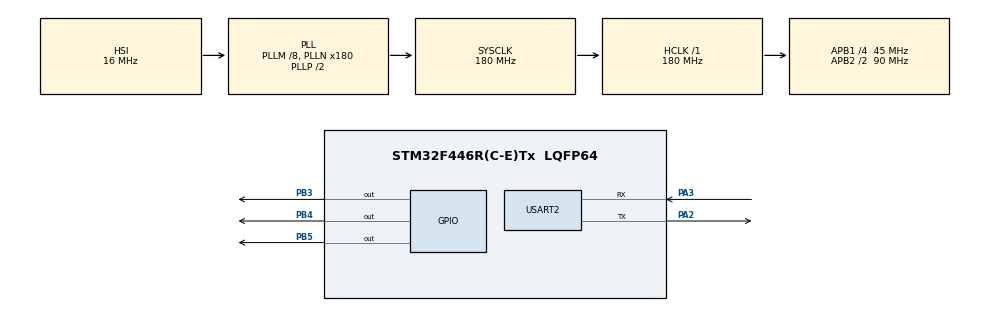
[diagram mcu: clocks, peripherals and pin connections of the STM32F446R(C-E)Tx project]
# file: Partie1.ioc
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FREERTOS.Tasks01=Task1,24,128,StartTask1,Default,NULL,Dynamic,NULL,NULL;Task2,24,128,StartTask2,Default,NULL,Dynamic,NULL,NULL;Task3,24,128,StartTask3,Default,NULL,Dynamic,NULL,NULL;Task4,24,128,StartTask4,Default,NULL,Dynamic,NULL,NULL
Mcu.Family=STM32F4
Mcu.Name=STM32F446R(C-E)Tx
Mcu.Package=LQFP64
NVIC.PriorityGroup=NVIC_PRIORITYGROUP_4
PA13.Mode=Serial_Wire
PA13.Signal=SYS_JTMS-SWDIO
PA14.Mode=Serial_Wire
PA14.Signal=SYS_JTCK-SWCLK
PA2.Mode=Asynchronous
PA2.Signal=USART2_TX
PA3.Mode=Asynchronous
PA3.Signal=USART2_RX
PB3.Signal=GPIO_Output
PB4.Signal=GPIO_Output
PB5.Signal=GPIO_Output
PH0-OSC_IN.Mode=HSE-External-Oscillator
PH0-OSC_IN.Signal=RCC_OSC_IN
PH1-OSC_OUT.Mode=HSE-External-Oscillator
PH1-OSC_OUT.Signal=RCC_OSC_OUT
ProjectManager.HeapSize=0x200
ProjectManager.StackSize=0x400
ProjectManager.TargetToolchain=STM32CubeIDE
RCC.48MHZClocksFreq_Value=84000000
RCC.AHBFreq_Value=180000000
RCC.APB1CLKDivider=RCC_HCLK_DIV4
RCC.APB1Freq_Value=45000000
RCC.APB1TimFreq_Value=90000000
RCC.APB2CLKDivider=RCC_HCLK_DIV2
RCC.APB2Freq_Value=90000000
RCC.APB2TimFreq_Value=180000000
RCC.CortexFreq_Value=180000000
RCC.FLatency-AdvancedSettings=FLASH_LATENCY_5
RCC.HCLKFreq_Value=180000000
RCC.HSE_VALUE=8000000
RCC.HSI_VALUE=16000000
RCC.PLLM=8
RCC.PLLN=180
RCC.SYSCLKFreq_VALUE=180000000
RCC.SYSCLKSource=RCC_SYSCLKSOURCE_PLLCLK
RCC.USBFreq_Value=180000000
RCC.VCOOutputFreq_Value=360000000
USART2.VirtualMode=VM_ASYNC
VP_FREERTOS_VS_CMSIS_V2.Mode=CMSIS_V2
board=NUCLEO-F446RE

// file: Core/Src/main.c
/* USER CODE BEGIN Header */
/**
  ******************************************************************************
  * @file           : main.c
  * @brief          : Main program body
  ******************************************************************************
  * @attention
  *
  * Copyright (c) 2024 STMicroelectronics.
  * All rights reserved.
  *
  * This software is licensed under terms that can be found in the LICENSE file
  * in the root directory of this software component.
  * If no LICENSE file comes with this software, it is provided AS-IS.
  *
  ******************************************************************************
  */
/* USER CODE END Header */
#include "main.h"
#include "cmsis_os.h"

UART_HandleTypeDef huart2;

/* Definitions for Task1 */
osThreadId_t Task1Handle;
const osThreadAttr_t Task1_attributes = {
  .name = "Task1",
  .stack_size = 128 * 4,
  .priority = (osPriority_t) osPriorityNormal,
};
/* Definitions for Task2 */
osThreadId_t Task2Handle;
const osThreadAttr_t Task2_attributes = {
  .name = "Task2",
  .stack_size = 128 * 4,
  .priority = (osPriority_t) osPriorityNormal,
};
/* Definitions for Task3 */
osThreadId_t Task3Handle;
const osThreadAttr_t Task3_attributes = {
  .name = "Task3",
  .stack_size = 128 * 4,
  .priority = (osPriority_t) osPriorityNormal,
};
/* Definitions for Task4 */
osThreadId_t Task4Handle;
const osThreadAttr_t Task4_attributes = {
  .name = "Task4",
  .stack_size = 128 * 4,
  .priority = (osPriority_t) osPriorityNormal,
};

void SystemClock_Config(void);
static void MX_GPIO_Init(void);
static void MX_USART2_UART_Init(void);
void StartTask1(void *argument);
void StartTask2(void *argument);
void StartTask3(void *argument);
void StartTask4(void *argument);

int main(void)
{

  /* MCU Configuration--------------------------------------------------------*/

  /* Reset of all peripherals, Initializes the Flash interface and the Systick. */
  HAL_Init();

  /* Configure the system clock */
  SystemClock_Config();

  /* Initialize all configured peripherals */
  MX_GPIO_Init();
  MX_USART2_UART_Init();

  /* Init scheduler */
  osKernelInitialize();

  /* Create the thread(s) */
  /* creation of Task1 */
  Task1Handle = osThreadNew(StartTask1, NULL, &Task1_attributes);

  /* creation of Task2 */
  Task2Handle = osThreadNew(StartTask2, NULL, &Task2_attributes);

  /* creation of Task3 */
  Task3Handle = osThreadNew(StartTask3, NULL, &Task3_attributes);

  /* creation of Task4 */
  Task4Handle = osThreadNew(StartTask4, NULL, &Task4_attributes);

  /* Start scheduler */
  osKernelStart();

  /* We should never get here as control is now taken by the scheduler */
  /* Infinite loop */
  while (1)
  {

  }
}

void SystemClock_Config(void)
{
  RCC_OscInitTypeDef RCC_OscInitStruct = {0};
  RCC_ClkInitTypeDef RCC_ClkInitStruct = {0};

  /** Configure the main internal regulator output voltage
  */
  __HAL_RCC_PWR_CLK_ENABLE();
  __HAL_PWR_VOLTAGESCALING_CONFIG(PWR_REGULATOR_VOLTAGE_SCALE1);

  /** Initializes the RCC Oscillators according to the specified parameters
  * in the RCC_OscInitTypeDef structure.
  */
  RCC_OscInitStruct.OscillatorType = RCC_OSCILLATORTYPE_HSI;
  RCC_OscInitStruct.HSIState = RCC_HSI_ON;
  RCC_OscInitStruct.HSICalibrationValue = RCC_HSICALIBRATION_DEFAULT;
  RCC_OscInitStruct.PLL.PLLState = RCC_PLL_ON;
  RCC_OscInitStruct.PLL.PLLSource = RCC_PLLSOURCE_HSI;
  RCC_OscInitStruct.PLL.PLLM = 8;
  RCC_OscInitStruct.PLL.PLLN = 180;
  RCC_OscInitStruct.PLL.PLLP = RCC_PLLP_DIV2;
  RCC_OscInitStruct.PLL.PLLQ = 2;
  RCC_OscInitStruct.PLL.PLLR = 2;
  if (HAL_RCC_OscConfig(&RCC_OscInitStruct) != HAL_OK)
  {
    Error_Handler();
  }

  /** Activate the Over-Drive mode
  */
  if (HAL_PWREx_EnableOverDrive() != HAL_OK)
  {
    Error_Handler();
  }

  /** Initializes the CPU, AHB and APB buses clocks
  */
  RCC_ClkInitStruct.ClockType = RCC_CLOCKTYPE_HCLK|RCC_CLOCKTYPE_SYSCLK
                              |RCC_CLOCKTYPE_PCLK1|RCC_CLOCKTYPE_PCLK2;
  RCC_ClkInitStruct.SYSCLKSource = RCC_SYSCLKSOURCE_PLLCLK;
  RCC_ClkInitStruct.AHBCLKDivider = RCC_SYSCLK_DIV1;
  RCC_ClkInitStruct.APB1CLKDivider = RCC_HCLK_DIV4;
  RCC_ClkInitStruct.APB2CLKDivider = RCC_HCLK_DIV2;

  if (HAL_RCC_ClockConfig(&RCC_ClkInitStruct, FLASH_LATENCY_5) != HAL_OK)
  {
    Error_Handler();
  }
}

static void MX_USART2_UART_Init(void)
{

  huart2.Instance = USART2;
  huart2.Init.BaudRate = 115200;
  huart2.Init.WordLength = UART_WORDLENGTH_8B;
  huart2.Init.StopBits = UART_STOPBITS_1;
  huart2.Init.Parity = UART_PARITY_NONE;
  huart2.Init.Mode = UART_MODE_TX_RX;
  huart2.Init.HwFlowCtl = UART_HWCONTROL_NONE;
  huart2.Init.OverSampling = UART_OVERSAMPLING_16;
  if (HAL_UART_Init(&huart2) != HAL_OK)
  {
    Error_Handler();
  }

}

static void MX_GPIO_Init(void)
{
  GPIO_InitTypeDef GPIO_InitStruct = {0};

  /* GPIO Ports Clock Enable */
  __HAL_RCC_GPIOH_CLK_ENABLE();
  __HAL_RCC_GPIOA_CLK_ENABLE();
  __HAL_RCC_GPIOB_CLK_ENABLE();

  /*Configure GPIO pin Output Level */
  HAL_GPIO_WritePin(GPIOB, GPIO_PIN_3|GPIO_PIN_4|GPIO_PIN_5, GPIO_PIN_RESET);

  /*Configure GPIO pins : PB3 PB4 PB5 */
  GPIO_InitStruct.Pin = GPIO_PIN_3|GPIO_PIN_4|GPIO_PIN_5;
  GPIO_InitStruct.Mode = GPIO_MODE_OUTPUT_PP;
  GPIO_InitStruct.Pull = GPIO_NOPULL;
  GPIO_InitStruct.Speed = GPIO_SPEED_FREQ_LOW;
  HAL_GPIO_Init(GPIOB, &GPIO_InitStruct);

}

void StartTask1(void *argument)
{
  /* USER CODE BEGIN 5 */
  /* Infinite loop */
  for(;;)
  {

	  HAL_GPIO_TogglePin(GPIOB, GPIO_PIN_5);
	   osDelay(12000);
	   HAL_GPIO_TogglePin(GPIOB, GPIO_PIN_5);
	   osDelay(13000);
  }
  /* USER CODE END 5 */
}

void StartTask2(void *argument)
{
  /* USER CODE BEGIN StartTask2 */
  /* Infinite loop */
  for(;;)
  {
	 // HAL_UART_Transmit(&huart2, dataTask1, 7, 3000);
	  osDelay(10000);
	  HAL_GPIO_TogglePin(GPIOB, GPIO_PIN_4);
	  osDelay(2000);
	  HAL_GPIO_TogglePin(GPIOB, GPIO_PIN_4);
	  osDelay(10000);
	  HAL_GPIO_TogglePin(GPIOB, GPIO_PIN_4);
	  osDelay(3000);
	  HAL_GPIO_TogglePin(GPIOB, GPIO_PIN_4);
  }
  /* USER CODE END StartTask2 */
}

void StartTask3(void *argument)
{
  /* USER CODE BEGIN StartTask3 */
  /* Infinite loop */
  for(;;)
  {
	  //HAL_UART_Transmit(&huart2, dataTask1, 7, 10000);
	  osDelay(12000);
	  HAL_GPIO_TogglePin(GPIOB, GPIO_PIN_3);
	  osDelay(10000);
	  HAL_GPIO_TogglePin(GPIOB, GPIO_PIN_3);
	  osDelay(3000);
  }
  /* USER CODE END StartTask3 */
}

void StartTask4(void *argument)
{
  /* USER CODE BEGIN StartTask4 */
  /* Infinite loop */
  for(;;)
  {
	  //HAL_UART_Transmit(&huart2, 7, 3000);
//	  osDelay()
  }
  /* USER CODE END StartTask4 */
}

void Error_Handler(void)
{
  __disable_irq();
  while (1)
  {
  }
}
